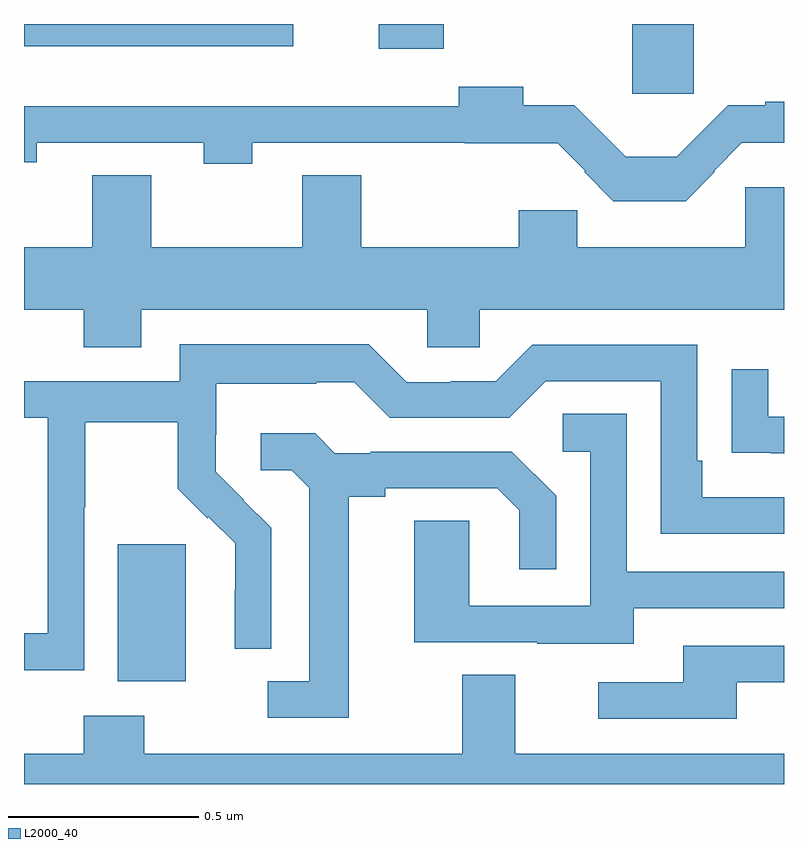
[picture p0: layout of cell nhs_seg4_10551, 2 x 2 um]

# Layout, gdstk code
import gdstk
lib = gdstk.Library(unit=1e-6, precision=1e-09)
def R(c, l, rs):  # rectangles x0, y0, x1, y1
    for r in rs: c.add(gdstk.rectangle(r[:2], r[2:], *l))
def P(c, l, *ps):  # polygons
    for p in ps: c.add(gdstk.Polygon(p, *l))
L2000_40 = (2000, 40)

nhs_seg4_10551 = lib.new_cell('nhs_seg4_10551')
R(nhs_seg4_10551, L2000_40, [(241.247,801.17,241.426,801.531), (242.6,802.716,242.762,802.9), (241.934,802.835,242.105,802.9), (241,802.841,241.708,802.9)])
P(nhs_seg4_10551, L2000_40, [(242.818,802.511),(242.816,802.514),(242.889,802.587),(243,802.587),(243,802.696),(242.95,802.696),(242.95,802.686),(242.853,802.686),(242.718,802.551),(242.583,802.551),(242.448,802.686),(242.314,802.686),(242.314,802.735),(242.144,802.735),(242.144,802.684),(241,802.684),(241,802.536),(241.034,802.536),(241.034,802.587),(241.473,802.587),(241.473,802.532),(241.601,802.532),(241.601,802.587),(242.16,802.587),(242.16,802.586),(242.404,802.586),(242.477,802.514),(242.474,802.511),(242.551,802.433),(242.741,802.433)],
  [(241.309,802.148),(242.061,802.148),(242.061,802.05),(242.199,802.05),(242.199,802.148),(243,802.148),(243,802.471),(242.898,802.471),(242.898,802.312),(242.456,802.312),(242.456,802.41),(242.302,802.41),(242.302,802.312),(241.887,802.312),(241.887,802.502),(241.732,802.502),(241.732,802.312),(241.335,802.312),(241.335,802.502),(241.18,802.502),(241.18,802.312),(241,802.312),(241,802.148),(241.157,802.148),(241.157,802.049),(241.309,802.049)],
  [(241.158,801.628),(241.161,801.628),(241.161,801.852),(241.405,801.852),(241.405,801.677),(241.482,801.6),(241.485,801.603),(241.556,801.533),(241.556,801.41),(241.554,801.41),(241.554,801.256),(241.65,801.256),(241.65,801.574),(241.577,801.647),(241.578,801.648),(241.504,801.722),(241.504,801.819),(241.506,801.819),(241.506,801.953),(241.769,801.953),(241.769,801.957),(241.869,801.957),(241.962,801.864),(242.277,801.864),(242.373,801.96),(242.676,801.96),(242.676,801.558),(243,801.558),(243,801.654),(242.785,801.654),(242.785,801.751),(242.772,801.751),(242.772,802.056),(242.337,802.056),(242.241,801.96),(242.123,801.96),(242.123,801.957),(242.007,801.957),(241.907,802.057),(241.41,802.057),(241.41,801.96),(241,801.96),(241,801.864),(241.062,801.864),(241.062,801.297),(241,801.297),(241,801.199),(241.158,801.199)],
  [(243,801.867),(242.959,801.867),(242.959,801.991),(242.863,801.991),(242.863,801.772),(242.965,801.772),(242.965,801.771),(243,801.771)],
  [(242.605,801.363),(243,801.363),(243,801.459),(242.586,801.459),(242.586,801.875),(242.418,801.875),(242.418,801.774),(242.49,801.774),(242.49,801.369),(242.172,801.369),(242.172,801.593),(242.027,801.593),(242.027,801.273),(242.351,801.273),(242.351,801.269),(242.605,801.269)],
  [(241.855,801.656),(241.951,801.656),(241.951,801.678),(242.246,801.678),(242.303,801.621),(242.303,801.465),(242.4,801.465),(242.4,801.658),(242.284,801.774),(241.912,801.774),(241.912,801.771),(241.818,801.771),(241.766,801.823),(241.623,801.823),(241.623,801.726),(241.704,801.726),(241.751,801.679),(241.751,801.171),(241.641,801.171),(241.641,801.075),(241.855,801.075)],
  [(242.875,801.168),(243,801.168),(243,801.264),(242.735,801.264),(242.735,801.168),(242.511,801.168),(242.511,801.072),(242.875,801.072)],
  [(243,800.98),(242.293,800.98),(242.293,801.188),(242.153,801.188),(242.153,800.98),(241.317,800.98),(241.317,801.079),(241.157,801.079),(241.157,800.98),(241,800.98),(241,800.9),(243,800.9)])

lib.write_gds('nhs_seg4_10551.gds')
